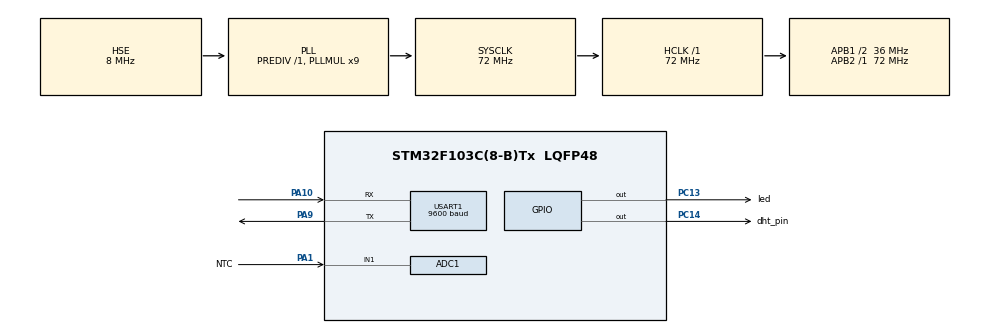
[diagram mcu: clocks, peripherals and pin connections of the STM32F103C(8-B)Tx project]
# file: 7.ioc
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ADC1.Channel-0\#ChannelRegularConversion=ADC_CHANNEL_1
ADC1.ContinuousConvMode=ENABLE
ADC1.NbrOfConversionFlag=1
ADC1.Rank-0\#ChannelRegularConversion=1
ADC1.SamplingTime-0\#ChannelRegularConversion=ADC_SAMPLETIME_1CYCLE_5
ADC1.master=1
Mcu.Family=STM32F1
Mcu.Name=STM32F103C(8-B)Tx
Mcu.Package=LQFP48
NVIC.PriorityGroup=NVIC_PRIORITYGROUP_4
PA1.GPIO_Label=NTC
PA1.Signal=ADCx_IN1
PA10.Mode=Asynchronous
PA10.Signal=USART1_RX
PA13.Mode=Serial_Wire
PA13.Signal=SYS_JTMS-SWDIO
PA14.Mode=Serial_Wire
PA14.Signal=SYS_JTCK-SWCLK
PA9.Mode=Asynchronous
PA9.Signal=USART1_TX
PC13-TAMPER-RTC.GPIO_Label=led
PC13-TAMPER-RTC.Signal=GPIO_Output
PC14-OSC32_IN.GPIO_Label=dht_pin
PC14-OSC32_IN.Signal=GPIO_Output
PD0-OSC_IN.Mode=HSE-External-Oscillator
PD0-OSC_IN.Signal=RCC_OSC_IN
PD1-OSC_OUT.Mode=HSE-External-Oscillator
PD1-OSC_OUT.Signal=RCC_OSC_OUT
ProjectManager.HeapSize=0x200
ProjectManager.StackSize=0x400
ProjectManager.TargetToolchain=MDK-ARM V5
RCC.ADCPresc=RCC_ADCPCLK2_DIV8
RCC.AHBFreq_Value=72000000
RCC.APB1CLKDivider=RCC_HCLK_DIV2
RCC.APB1Freq_Value=36000000
RCC.APB1TimFreq_Value=72000000
RCC.APB2Freq_Value=72000000
RCC.APB2TimFreq_Value=72000000
RCC.HCLKFreq_Value=72000000
RCC.PLLMUL=RCC_PLL_MUL9
RCC.PLLSourceVirtual=RCC_PLLSOURCE_HSE
RCC.SYSCLKFreq_VALUE=72000000
RCC.SYSCLKSource=RCC_SYSCLKSOURCE_PLLCLK
RCC.USBFreq_Value=72000000
SH.ADCx_IN1.0=ADC1_IN1,IN1
TIM2.Period=65535
TIM2.Prescaler=72-1
USART1.BaudRate=9600
USART1.VirtualMode=VM_ASYNC
VP_TIM2_VS_ClockSourceINT.Mode=Internal
board=custom

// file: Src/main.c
/* USER CODE BEGIN Header */
/**
  ******************************************************************************
  * @file           : main.c
  * @brief          : Main program body
  ******************************************************************************
  * @attention
  *
  * <h2><center>&copy; Copyright (c) 2021 STMicroelectronics.
  * All rights reserved.</center></h2>
  *
  * This software component is licensed by ST under BSD 3-Clause license,
  * the "License"; You may not use this file except in compliance with the
  * License. You may obtain a copy of the License at:
  *                        opensource.org/licenses/BSD-3-Clause
  *
  ******************************************************************************
  */
/* USER CODE END Header */

#include "main.h"

/* USER CODE BEGIN Includes */
#include "string.h"
#include "math.h"
/* USER CODE END Includes */

ADC_HandleTypeDef hadc1;

TIM_HandleTypeDef htim2;

UART_HandleTypeDef huart1;

void SystemClock_Config(void);
static void MX_GPIO_Init(void);
static void MX_TIM2_Init(void);
static void MX_USART1_UART_Init(void);
static void MX_ADC1_Init(void);

/* USER CODE BEGIN 0 */
void delay(uint16_t time){
	__HAL_TIM_SET_COUNTER(&htim2,0);
	while(__HAL_TIM_GET_COUNTER(&htim2) < time);
}
uint8_t data[5];
void set_output(GPIO_TypeDef *GPIOx,uint16_t GPIO_Pin)
{
	GPIO_InitTypeDef GPIO_InitStruct = {0};
	GPIO_InitStruct.Pin = GPIO_Pin;
	GPIO_InitStruct.Mode = GPIO_MODE_OUTPUT_PP;
	GPIO_InitStruct.Speed = GPIO_SPEED_FREQ_LOW;
	HAL_GPIO_Init(GPIOx, &GPIO_InitStruct);
}
void set_input(GPIO_TypeDef *GPIOx,uint16_t GPIO_Pin)
{
	GPIO_InitTypeDef GPIO_InitStruct = {0};
	GPIO_InitStruct.Pin = GPIO_Pin;
	GPIO_InitStruct.Mode = GPIO_MODE_INPUT;
	GPIO_InitStruct.Pull = GPIO_PULLUP;
	HAL_GPIO_Init(GPIOx, &GPIO_InitStruct);
}
//void DHT11_Start(void){
//	set_output(dht_pin_GPIO_Port,dht_pin_Pin);
//	HAL_GPIO_WritePin(dht_pin_GPIO_Port,dht_pin_Pin,0); // pull pin low
//	HAL_Delay(18);
//	HAL_GPIO_WritePin(dht_pin_GPIO_Port,dht_pin_Pin,1); // pull pin high
//	delay(40);
//	set_input(dht_pin_GPIO_Port,dht_pin_Pin);
//}
//uint8_t check_res(void)
//{
//	uint8_t res;
//	// check 80us low
//		__HAL_TIM_SET_COUNTER(&htim2,0);
//	while(__HAL_TIM_GET_COUNTER(&htim2)< 100)
//	{
//			if(HAL_GPIO_ReadPin(dht_pin_GPIO_Port,dht_pin_Pin)) {break ;}
//	}
//	if(__HAL_TIM_GET_COUNTER(&htim2) >= 100)return -1;
//
//	// check 80us high
//		__HAL_TIM_SET_COUNTER(&htim2,0);
//	while(__HAL_TIM_GET_COUNTER(&htim2)< 100)
//	{
//			if(!HAL_GPIO_ReadPin(dht_pin_GPIO_Port,dht_pin_Pin)) {res = 1;break;}
//	}
//	if(__HAL_TIM_GET_COUNTER(&htim2) >= 100)return -1;
//
//	return res;
//}

uint8_t read_dht11(uint8_t *humi,uint8_t* temp)
{
	uint8_t data[5];
	uint8_t sum;
	uint8_t res = 1;
	//start
	set_output(dht_pin_GPIO_Port,dht_pin_Pin);
	HAL_GPIO_WritePin(dht_pin_GPIO_Port,dht_pin_Pin,0); // pull pin low
	HAL_Delay(18);
	HAL_GPIO_WritePin(dht_pin_GPIO_Port,dht_pin_Pin,1); // pull pin high
	delay(40);
	set_input(dht_pin_GPIO_Port,dht_pin_Pin);
	//check res
		__HAL_TIM_SET_COUNTER(&htim2,0);
	while(__HAL_TIM_GET_COUNTER(&htim2)< 100)
	{
			if(HAL_GPIO_ReadPin(dht_pin_GPIO_Port,dht_pin_Pin)) {res = 1;break;}
	}
	if(__HAL_TIM_GET_COUNTER(&htim2) >= 100)return -1;

	// check 80us high
		__HAL_TIM_SET_COUNTER(&htim2,0);
	while(__HAL_TIM_GET_COUNTER(&htim2)< 100)
	{
			if(!HAL_GPIO_ReadPin(dht_pin_GPIO_Port,dht_pin_Pin)) {res = 1;break;}
	}
	if(__HAL_TIM_GET_COUNTER(&htim2) >= 100)return 2;
	// read dht

	for(int i = 0; i < 5; i++)
	{
		data[i] = 0;
		for(int j = 0; j< 8; j ++)
		{
			// check start trans
			__HAL_TIM_SET_COUNTER(&htim2, 0);
			while(__HAL_TIM_GET_COUNTER(&htim2) < 80)
			{
				if(HAL_GPIO_ReadPin(dht_pin_GPIO_Port,dht_pin_Pin)){res = 1; break;}
			}
			if(__HAL_TIM_GET_COUNTER(&htim2) >= 80) return 3;

			// check data
			 __HAL_TIM_SET_COUNTER(&htim2,0);
			while(__HAL_TIM_GET_COUNTER(&htim2)< 120 )
			{
				if(!(HAL_GPIO_ReadPin(dht_pin_GPIO_Port,dht_pin_Pin))){res = 1; break;}
			}
			uint16_t tim; tim= __HAL_TIM_GET_COUNTER(&htim2);
			if(tim > 100 || tim <= 5) return tim;
			else{
				data[i] <<= 1;
				if(tim > 45){

					data[i] |= 1;
				}
			}
		}
	}
		sum = data[0]+data[1]+data[2]+data[3];
		if(sum != data[4]) return 4;
		else{
			*humi = data[0];
			*temp = data[2];
		}
		return res;
}

double Get_Temp(){
		double ntc_volt;
		double Res[5];
		double Temp;
		for(uint8_t i = 0; i < 5; i++){

			//HAL_ADC_PollForConversion(&hadc1,1000);
			HAL_ADC_Start(&hadc1);
			ntc_volt = (3.3/4096)*HAL_ADC_GetValue(&hadc1);
			HAL_ADC_Stop(&hadc1);
			Res[i] = (ntc_volt*10000)/(3.3-ntc_volt);
		}
		double res_ave = (Res[0]+Res[1]+Res[2]+Res[3]+Res[4])/5;
		double A =0.001125308852122,B = 0.001125308852122,C = 0.000000085663516,ln =log(res_ave) ;
		Temp = 1/(A + B*ln + C*ln*ln*ln) - 273.15;
		return Temp;
	}
void send_uart(char *buff)
{
	HAL_UART_Transmit(&huart1,(uint8_t*)buff,strlen(buff),1000);
}
/* USER CODE END 0 */

int main(void)
{

  /* MCU Configuration--------------------------------------------------------*/

  /* Reset of all peripherals, Initializes the Flash interface and the Systick. */
  HAL_Init();

  /* Configure the system clock */
  SystemClock_Config();

  /* Initialize all configured peripherals */
  MX_GPIO_Init();
  MX_TIM2_Init();
  MX_USART1_UART_Init();
  MX_ADC1_Init();
  /* USER CODE BEGIN 2 */
	HAL_TIM_Base_Start(&htim2);
		send_uart("uart2 _ok!\n");

  /* USER CODE END 2 */

  /* Infinite loop */
  while (1)
  {

    /* USER CODE BEGIN 3 */

		uint8_t res;
		uint8_t temp, humi,temp_ntc10k = -1;
		char buff[30];
		res = read_dht11(&humi,&temp);
		temp_ntc10k = (uint8_t)Get_Temp();
		if(res == 1){
			// data send uart humi_dht11||temp_dht11||temp_ntc10k
			sprintf(buff,"%d||%d||%d",humi,temp,temp_ntc10k);
			send_uart(buff);
		}
//		if(res == 255) send_uart("Error\n");
		HAL_Delay(500);

  }
  /* USER CODE END 3 */
}

void SystemClock_Config(void)
{
  RCC_OscInitTypeDef RCC_OscInitStruct = {0};
  RCC_ClkInitTypeDef RCC_ClkInitStruct = {0};
  RCC_PeriphCLKInitTypeDef PeriphClkInit = {0};

  /** Initializes the CPU, AHB and APB busses clocks
  */
  RCC_OscInitStruct.OscillatorType = RCC_OSCILLATORTYPE_HSE;
  RCC_OscInitStruct.HSEState = RCC_HSE_ON;
  RCC_OscInitStruct.HSEPredivValue = RCC_HSE_PREDIV_DIV1;
  RCC_OscInitStruct.HSIState = RCC_HSI_ON;
  RCC_OscInitStruct.PLL.PLLState = RCC_PLL_ON;
  RCC_OscInitStruct.PLL.PLLSource = RCC_PLLSOURCE_HSE;
  RCC_OscInitStruct.PLL.PLLMUL = RCC_PLL_MUL9;
  if (HAL_RCC_OscConfig(&RCC_OscInitStruct) != HAL_OK)
  {
    Error_Handler();
  }
  /** Initializes the CPU, AHB and APB busses clocks
  */
  RCC_ClkInitStruct.ClockType = RCC_CLOCKTYPE_HCLK|RCC_CLOCKTYPE_SYSCLK
                              |RCC_CLOCKTYPE_PCLK1|RCC_CLOCKTYPE_PCLK2;
  RCC_ClkInitStruct.SYSCLKSource = RCC_SYSCLKSOURCE_PLLCLK;
  RCC_ClkInitStruct.AHBCLKDivider = RCC_SYSCLK_DIV1;
  RCC_ClkInitStruct.APB1CLKDivider = RCC_HCLK_DIV2;
  RCC_ClkInitStruct.APB2CLKDivider = RCC_HCLK_DIV1;

  if (HAL_RCC_ClockConfig(&RCC_ClkInitStruct, FLASH_LATENCY_2) != HAL_OK)
  {
    Error_Handler();
  }
  PeriphClkInit.PeriphClockSelection = RCC_PERIPHCLK_ADC;
  PeriphClkInit.AdcClockSelection = RCC_ADCPCLK2_DIV8;
  if (HAL_RCCEx_PeriphCLKConfig(&PeriphClkInit) != HAL_OK)
  {
    Error_Handler();
  }
}

static void MX_ADC1_Init(void)
{

  ADC_ChannelConfTypeDef sConfig = {0};

  /** Common config
  */
  hadc1.Instance = ADC1;
  hadc1.Init.ScanConvMode = ADC_SCAN_DISABLE;
  hadc1.Init.ContinuousConvMode = ENABLE;
  hadc1.Init.DiscontinuousConvMode = DISABLE;
  hadc1.Init.ExternalTrigConv = ADC_SOFTWARE_START;
  hadc1.Init.DataAlign = ADC_DATAALIGN_RIGHT;
  hadc1.Init.NbrOfConversion = 1;
  if (HAL_ADC_Init(&hadc1) != HAL_OK)
  {
    Error_Handler();
  }
  /** Configure Regular Channel
  */
  sConfig.Channel = ADC_CHANNEL_1;
  sConfig.Rank = ADC_REGULAR_RANK_1;
  sConfig.SamplingTime = ADC_SAMPLETIME_1CYCLE_5;
  if (HAL_ADC_ConfigChannel(&hadc1, &sConfig) != HAL_OK)
  {
    Error_Handler();
  }

}

static void MX_TIM2_Init(void)
{

  TIM_ClockConfigTypeDef sClockSourceConfig = {0};
  TIM_MasterConfigTypeDef sMasterConfig = {0};

  htim2.Instance = TIM2;
  htim2.Init.Prescaler = 72-1;
  htim2.Init.CounterMode = TIM_COUNTERMODE_UP;
  htim2.Init.Period = 65535;
  htim2.Init.ClockDivision = TIM_CLOCKDIVISION_DIV1;
  htim2.Init.AutoReloadPreload = TIM_AUTORELOAD_PRELOAD_DISABLE;
  if (HAL_TIM_Base_Init(&htim2) != HAL_OK)
  {
    Error_Handler();
  }
  sClockSourceConfig.ClockSource = TIM_CLOCKSOURCE_INTERNAL;
  if (HAL_TIM_ConfigClockSource(&htim2, &sClockSourceConfig) != HAL_OK)
  {
    Error_Handler();
  }
  sMasterConfig.MasterOutputTrigger = TIM_TRGO_RESET;
  sMasterConfig.MasterSlaveMode = TIM_MASTERSLAVEMODE_DISABLE;
  if (HAL_TIMEx_MasterConfigSynchronization(&htim2, &sMasterConfig) != HAL_OK)
  {
    Error_Handler();
  }

}

static void MX_USART1_UART_Init(void)
{

  huart1.Instance = USART1;
  huart1.Init.BaudRate = 9600;
  huart1.Init.WordLength = UART_WORDLENGTH_8B;
  huart1.Init.StopBits = UART_STOPBITS_1;
  huart1.Init.Parity = UART_PARITY_NONE;
  huart1.Init.Mode = UART_MODE_TX_RX;
  huart1.Init.HwFlowCtl = UART_HWCONTROL_NONE;
  huart1.Init.OverSampling = UART_OVERSAMPLING_16;
  if (HAL_UART_Init(&huart1) != HAL_OK)
  {
    Error_Handler();
  }

}

static void MX_GPIO_Init(void)
{
  GPIO_InitTypeDef GPIO_InitStruct = {0};

  /* GPIO Ports Clock Enable */
  __HAL_RCC_GPIOC_CLK_ENABLE();
  __HAL_RCC_GPIOD_CLK_ENABLE();
  __HAL_RCC_GPIOA_CLK_ENABLE();

  /*Configure GPIO pin Output Level */
  HAL_GPIO_WritePin(GPIOC, led_Pin|dht_pin_Pin, GPIO_PIN_RESET);

  /*Configure GPIO pins : led_Pin dht_pin_Pin */
  GPIO_InitStruct.Pin = led_Pin|dht_pin_Pin;
  GPIO_InitStruct.Mode = GPIO_MODE_OUTPUT_PP;
  GPIO_InitStruct.Pull = GPIO_NOPULL;
  GPIO_InitStruct.Speed = GPIO_SPEED_FREQ_LOW;
  HAL_GPIO_Init(GPIOC, &GPIO_InitStruct);

}

void Error_Handler(void)
{
}

/************************ (C) COPYRIGHT STMicroelectronics *****END OF FILE****/
